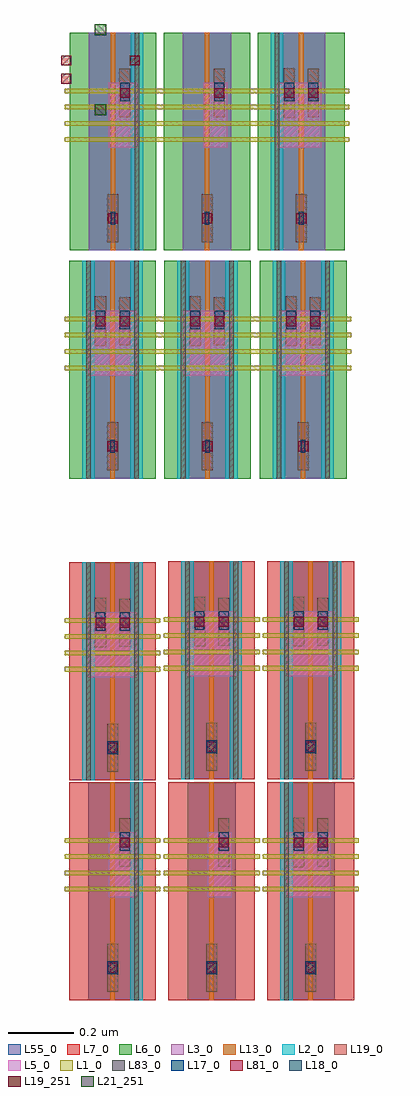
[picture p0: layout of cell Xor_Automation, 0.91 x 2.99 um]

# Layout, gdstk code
import gdstk
lib = gdstk.Library(unit=1e-6, precision=1e-09)
def R(c, l, rs):  # rectangles x0, y0, x1, y1
    for r in rs: c.add(gdstk.rectangle(r[:2], r[2:], *l))
def A(c, l, x, y, w, h, nx, ny, dx, dy):  # array of equal rectangles
    R(c, l, [(x+i*dx, y+j*dy, x+i*dx+w, y+j*dy+h) for i in range(nx) for j in range(ny)])
L1_0 = (1, 0)
L2_0 = (2, 0)
L3_0 = (3, 0)
L5_0 = (5, 0)
L6_0 = (6, 0)
L7_0 = (7, 0)
L13_0 = (13, 0)
L17_0 = (17, 0)
L18_0 = (18, 0)
L19_0 = (19, 0)
L19_251 = (19, 251)
L21_251 = (21, 251)
L55_0 = (55, 0)
L81_0 = (81, 0)
L83_0 = (83, 0)

nfet_pcell_b343 = lib.new_cell('nfet_pcell_b343')
A(nfet_pcell_b343, L1_0, -0.14, 0, 0.294, 0.014, 1, 4, 0, 0.05)
R(nfet_pcell_b343, L5_0, [(-0.005,-0.018,0,0.182), (0,-0.018,0.014,0.182), (0.014,-0.018,0.069,0.182)])
R(nfet_pcell_b343, L7_0, [(-0.126,-0.333,0.14,0.335)])
R(nfet_pcell_b343, L13_0, [(0,-0.333,0.014,0.335)])
R(nfet_pcell_b343, L17_0, [(0.029,0.125,0.059,0.182)])
R(nfet_pcell_b343, L18_0, [(-0.01,-0.254,0.024,-0.214)])
R(nfet_pcell_b343, L19_0, [(-0.01,-0.308,0.024,-0.16), (-0.01,-0.308,0.024,-0.16), (0.027,0.076,0.061,0.224), (0.027,0.08,0.061,0.22)])
R(nfet_pcell_b343, L55_0, [(-0.067,-0.333,0.081,0.335)])
R(nfet_pcell_b343, L81_0, [(-0.008,-0.249,0.022,-0.219), (0.029,0.135,0.059,0.165)])

pfet_pcell_9e03 = lib.new_cell('pfet_pcell_9e03')
A(pfet_pcell_9e03, L1_0, -0.14, 0, 0.294, 0.014, 1, 4, 0, 0.05)
R(pfet_pcell_9e03, L2_0, [(0.062,-0.333,0.1,0.335)])
R(pfet_pcell_9e03, L3_0, [(-0.067,-0.333,0.081,0.335)])
R(pfet_pcell_9e03, L5_0, [(-0.005,-0.018,0,0.182), (0,-0.018,0.014,0.182), (0.014,-0.018,0.081,0.182)])
R(pfet_pcell_9e03, L6_0, [(-0.126,-0.333,0.14,0.335)])
R(pfet_pcell_9e03, L13_0, [(0,-0.333,0.014,0.335), (0.074,-0.333,0.088,0.335), (0.074,-0.333,0.088,0.335)])
R(pfet_pcell_9e03, L17_0, [(0.029,0.125,0.059,0.182)])
R(pfet_pcell_9e03, L18_0, [(0,-0.254,0.014,-0.214)])
R(pfet_pcell_9e03, L19_0, [(-0.01,-0.308,0.024,-0.16), (-0.01,-0.308,0.024,-0.16), (0.027,0.076,0.061,0.224), (0.027,0.08,0.061,0.22)])
R(pfet_pcell_9e03, L55_0, [(-0.067,-0.333,0.081,0.335)])
R(pfet_pcell_9e03, L81_0, [(-0.008,-0.249,0.022,-0.219), (0.029,0.135,0.059,0.165)])
R(pfet_pcell_9e03, L83_0, [(0.074,-0.333,0.088,0.335)])

nfet_pcell_ba0a = lib.new_cell('nfet_pcell_ba0a')
A(nfet_pcell_ba0a, L1_0, -0.14, 0, 0.294, 0.014, 1, 4, 0, 0.05)
R(nfet_pcell_ba0a, L2_0, [(-0.086,-0.333,-0.048,0.335)])
R(nfet_pcell_ba0a, L5_0, [(-0.067,-0.018,0,0.182), (0,-0.018,0.014,0.182), (0.014,-0.018,0.069,0.182)])
R(nfet_pcell_ba0a, L7_0, [(-0.126,-0.333,0.14,0.335)])
R(nfet_pcell_ba0a, L13_0, [(-0.074,-0.333,-0.06,0.335), (-0.074,-0.333,-0.06,0.335), (0,-0.333,0.014,0.335)])
R(nfet_pcell_ba0a, L17_0, [(-0.045,0.125,-0.015,0.182), (0.029,0.125,0.059,0.182)])
R(nfet_pcell_ba0a, L18_0, [(-0.01,-0.254,0.024,-0.214)])
R(nfet_pcell_ba0a, L19_0, [(-0.01,-0.308,0.024,-0.16), (-0.01,-0.308,0.024,-0.16), (-0.047,0.074,-0.013,0.226), (-0.047,0.076,-0.013,0.224), (0.027,0.076,0.061,0.224), (0.027,0.08,0.061,0.22)])
R(nfet_pcell_ba0a, L55_0, [(-0.067,-0.333,0.081,0.335)])
R(nfet_pcell_ba0a, L81_0, [(-0.008,-0.249,0.022,-0.219), (-0.045,0.135,-0.015,0.165), (0.029,0.135,0.059,0.165)])
R(nfet_pcell_ba0a, L83_0, [(-0.074,-0.333,-0.06,0.335)])

nfet_pcell_53bb = lib.new_cell('nfet_pcell_53bb')
A(nfet_pcell_53bb, L1_0, -0.14, 0, 0.294, 0.014, 1, 4, 0, 0.05)
R(nfet_pcell_53bb, L2_0, [(0.062,-0.333,0.1,0.335)])
R(nfet_pcell_53bb, L5_0, [(-0.005,-0.018,0,0.182), (0,-0.018,0.014,0.182), (0.014,-0.018,0.081,0.182)])
R(nfet_pcell_53bb, L7_0, [(-0.126,-0.333,0.14,0.335)])
R(nfet_pcell_53bb, L13_0, [(0,-0.333,0.014,0.335), (0.074,-0.333,0.088,0.335), (0.074,-0.333,0.088,0.335)])
R(nfet_pcell_53bb, L17_0, [(0.029,0.125,0.059,0.182)])
R(nfet_pcell_53bb, L18_0, [(-0.01,-0.254,0.024,-0.214)])
R(nfet_pcell_53bb, L19_0, [(-0.01,-0.308,0.024,-0.16), (-0.01,-0.308,0.024,-0.16), (0.027,0.076,0.061,0.224), (0.027,0.08,0.061,0.22)])
R(nfet_pcell_53bb, L55_0, [(-0.067,-0.333,0.081,0.335)])
R(nfet_pcell_53bb, L81_0, [(-0.008,-0.249,0.022,-0.219), (0.029,0.135,0.059,0.165)])
R(nfet_pcell_53bb, L83_0, [(0.074,-0.333,0.088,0.335)])

pfet_pcell_c90f = lib.new_cell('pfet_pcell_c90f')
A(pfet_pcell_c90f, L1_0, -0.14, 0, 0.294, 0.014, 1, 4, 0, 0.05)
R(pfet_pcell_c90f, L2_0, [(-0.086,-0.333,-0.048,0.335)])
R(pfet_pcell_c90f, L3_0, [(-0.067,-0.333,0.081,0.335)])
R(pfet_pcell_c90f, L5_0, [(-0.067,-0.018,0,0.182), (0,-0.018,0.014,0.182), (0.014,-0.018,0.069,0.182)])
R(pfet_pcell_c90f, L6_0, [(-0.126,-0.333,0.14,0.335)])
R(pfet_pcell_c90f, L13_0, [(-0.074,-0.333,-0.06,0.335), (-0.074,-0.333,-0.06,0.335), (0,-0.333,0.014,0.335)])
R(pfet_pcell_c90f, L17_0, [(-0.045,0.125,-0.015,0.182), (0.029,0.125,0.059,0.182)])
R(pfet_pcell_c90f, L18_0, [(0,-0.254,0.014,-0.214)])
R(pfet_pcell_c90f, L19_0, [(-0.01,-0.308,0.024,-0.16), (-0.01,-0.308,0.024,-0.16), (-0.047,0.074,-0.013,0.226), (-0.047,0.076,-0.013,0.224), (0.027,0.076,0.061,0.224), (0.027,0.08,0.061,0.22)])
R(pfet_pcell_c90f, L55_0, [(-0.067,-0.333,0.081,0.335)])
R(pfet_pcell_c90f, L81_0, [(-0.008,-0.249,0.022,-0.219), (-0.045,0.135,-0.015,0.165), (0.029,0.135,0.059,0.165)])
R(pfet_pcell_c90f, L83_0, [(-0.074,-0.333,-0.06,0.335)])

pfet_pcell_d20d = lib.new_cell('pfet_pcell_d20d')
A(pfet_pcell_d20d, L1_0, -0.14, 0, 0.294, 0.014, 1, 4, 0, 0.05)
R(pfet_pcell_d20d, L3_0, [(-0.067,-0.333,0.081,0.335)])
R(pfet_pcell_d20d, L5_0, [(-0.005,-0.018,0,0.182), (0,-0.018,0.014,0.182), (0.014,-0.018,0.069,0.182)])
R(pfet_pcell_d20d, L6_0, [(-0.126,-0.333,0.14,0.335)])
R(pfet_pcell_d20d, L13_0, [(0,-0.333,0.014,0.335)])
R(pfet_pcell_d20d, L17_0, [(0.029,0.125,0.059,0.182)])
R(pfet_pcell_d20d, L18_0, [(0,-0.254,0.014,-0.214)])
R(pfet_pcell_d20d, L19_0, [(-0.01,-0.308,0.024,-0.16), (-0.01,-0.308,0.024,-0.16), (0.027,0.076,0.061,0.224), (0.027,0.08,0.061,0.22)])
R(pfet_pcell_d20d, L55_0, [(-0.067,-0.333,0.081,0.335)])
R(pfet_pcell_d20d, L81_0, [(-0.008,-0.249,0.022,-0.219), (0.029,0.135,0.059,0.165)])

pfet_pcell_608c = lib.new_cell('pfet_pcell_608c')
A(pfet_pcell_608c, L1_0, -0.14, 0, 0.294, 0.014, 1, 4, 0, 0.05)
R(pfet_pcell_608c, L2_0, [(-0.086,-0.333,-0.048,0.335), (0.062,-0.333,0.1,0.335)])
R(pfet_pcell_608c, L3_0, [(-0.067,-0.333,0.081,0.335)])
R(pfet_pcell_608c, L5_0, [(-0.067,-0.018,0,0.182), (0,-0.018,0.014,0.182), (0.014,-0.018,0.081,0.182)])
R(pfet_pcell_608c, L6_0, [(-0.126,-0.333,0.14,0.335)])
A(pfet_pcell_608c, L13_0, -0.074, -0.333, 0.014, 0.668, 3, 1, 0.074, 0)
R(pfet_pcell_608c, L13_0, [(-0.074,-0.333,-0.06,0.335), (0.074,-0.333,0.088,0.335)])
R(pfet_pcell_608c, L17_0, [(-0.045,0.125,-0.015,0.182), (0.029,0.125,0.059,0.182)])
R(pfet_pcell_608c, L18_0, [(0,-0.254,0.014,-0.214)])
R(pfet_pcell_608c, L19_0, [(-0.01,-0.308,0.024,-0.16), (-0.01,-0.308,0.024,-0.16), (-0.047,0.074,-0.013,0.226), (-0.047,0.076,-0.013,0.224), (0.027,0.076,0.061,0.224), (0.027,0.08,0.061,0.22)])
R(pfet_pcell_608c, L55_0, [(-0.067,-0.333,0.081,0.335)])
R(pfet_pcell_608c, L81_0, [(-0.008,-0.249,0.022,-0.219), (-0.045,0.135,-0.015,0.165), (0.029,0.135,0.059,0.165)])
R(pfet_pcell_608c, L83_0, [(-0.074,-0.333,-0.06,0.335), (0.074,-0.333,0.088,0.335)])

nfet_pcell_6596 = lib.new_cell('nfet_pcell_6596')
A(nfet_pcell_6596, L1_0, -0.14, 0, 0.294, 0.014, 1, 4, 0, 0.05)
R(nfet_pcell_6596, L2_0, [(-0.086,-0.333,-0.048,0.335), (0.062,-0.333,0.1,0.335)])
R(nfet_pcell_6596, L5_0, [(-0.067,-0.018,0,0.182), (0,-0.018,0.014,0.182), (0.014,-0.018,0.081,0.182)])
R(nfet_pcell_6596, L7_0, [(-0.126,-0.333,0.14,0.335)])
A(nfet_pcell_6596, L13_0, -0.074, -0.333, 0.014, 0.668, 3, 1, 0.074, 0)
R(nfet_pcell_6596, L13_0, [(-0.074,-0.333,-0.06,0.335), (0.074,-0.333,0.088,0.335)])
R(nfet_pcell_6596, L17_0, [(-0.045,0.125,-0.015,0.182), (0.029,0.125,0.059,0.182)])
R(nfet_pcell_6596, L18_0, [(-0.01,-0.254,0.024,-0.214)])
R(nfet_pcell_6596, L19_0, [(-0.01,-0.308,0.024,-0.16), (-0.01,-0.308,0.024,-0.16), (-0.047,0.074,-0.013,0.226), (-0.047,0.076,-0.013,0.224), (0.027,0.076,0.061,0.224), (0.027,0.08,0.061,0.22)])
R(nfet_pcell_6596, L55_0, [(-0.067,-0.333,0.081,0.335)])
R(nfet_pcell_6596, L81_0, [(-0.008,-0.249,0.022,-0.219), (-0.045,0.135,-0.015,0.165), (0.029,0.135,0.059,0.165)])
R(nfet_pcell_6596, L83_0, [(-0.074,-0.333,-0.06,0.335), (0.074,-0.333,0.088,0.335)])

xor_automation = lib.new_cell('Xor_Automation')
R(xor_automation, L19_251, [(0,0.097,0.03,0.127), (0,0.153,0.03,0.183), (0.21,0.153,0.24,0.183)])
R(xor_automation, L21_251, [(0.103,0,0.137,0.034), (0.103,0.246,0.137,0.28)])
xor_automation.add(gdstk.Reference(nfet_pcell_b343, (0.454,-2.382)))
xor_automation.add(gdstk.Reference(pfet_pcell_9e03, (0.151,-0.082)))
xor_automation.add(gdstk.Reference(nfet_pcell_ba0a, (0.758,-2.382)))
xor_automation.add(gdstk.Reference(nfet_pcell_53bb, (0.15,-2.382)))
xor_automation.add(gdstk.Reference(pfet_pcell_c90f, (0.729,-0.082)))
xor_automation.add(gdstk.Reference(pfet_pcell_d20d, (0.44,-0.082)))
xor_automation.add(gdstk.Reference(pfet_pcell_608c, (0.15,-0.782)))
xor_automation.add(gdstk.Reference(pfet_pcell_608c, (0.441,-0.782)))
xor_automation.add(gdstk.Reference(pfet_pcell_608c, (0.735,-0.782)))
xor_automation.add(gdstk.Reference(nfet_pcell_6596, (0.15,-1.707)))
xor_automation.add(gdstk.Reference(nfet_pcell_6596, (0.758,-1.704)))
xor_automation.add(gdstk.Reference(nfet_pcell_6596, (0.454,-1.704)))

lib.write_gds('Xor_Automation.gds')
